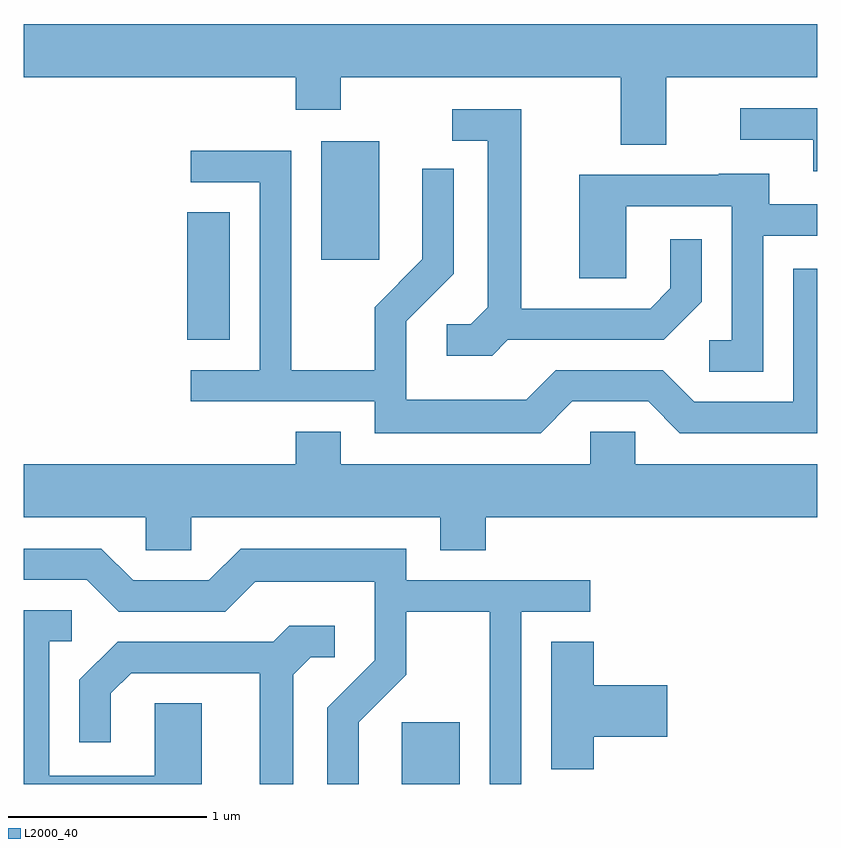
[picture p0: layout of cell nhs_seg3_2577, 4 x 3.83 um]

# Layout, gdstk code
import gdstk
lib = gdstk.Library(unit=1e-6, precision=1e-09)
def R(c, l, rs):  # rectangles x0, y0, x1, y1
    for r in rs: c.add(gdstk.rectangle(r[:2], r[2:], *l))
def P(c, l, *ps):  # polygons
    for p in ps: c.add(gdstk.Polygon(p, *l))
L2000_40 = (2000, 40)

nhs_seg3_2577 = lib.new_cell('nhs_seg3_2577')
R(nhs_seg3_2577, L2000_40, [(261.516,1237.892,261.809,1238.204), (260.436,1240.131,260.649,1240.774), (261.111,1240.536,261.404,1241.134)])
P(nhs_seg3_2577, L2000_40, [(262.849,1241.456),(263.611,1241.456),(263.611,1241.724),(259.611,1241.724),(259.611,1241.456),(260.981,1241.456),(260.981,1241.291),(261.209,1241.291),(261.209,1241.456),(262.621,1241.456),(262.621,1241.116),(262.849,1241.116)],
  [(263.611,1241.299),(263.223,1241.299),(263.223,1241.141),(263.591,1241.141),(263.591,1240.981),(263.611,1240.981)],
  [(262.052,1240.131),(262.837,1240.131),(263.029,1240.324),(263.029,1240.638),(262.871,1240.638),(262.871,1240.392),(262.769,1240.289),(262.119,1240.289),(262.119,1241.294),(261.772,1241.294),(261.772,1241.136),(261.951,1241.136),(261.951,1240.297),(261.864,1240.209),(261.743,1240.209),(261.743,1240.051),(261.972,1240.051)],
  [(262.377,1239.821),(262.759,1239.821),(262.919,1239.661),(263.611,1239.661),(263.611,1240.489),(263.491,1240.489),(263.491,1239.819),(262.992,1239.819),(262.832,1239.979),(262.294,1239.979),(262.144,1239.829),(261.539,1239.829),(261.539,1240.224),(261.779,1240.464),(261.779,1240.993),(261.621,1240.993),(261.621,1240.537),(261.381,1240.297),(261.381,1239.979),(260.959,1239.979),(260.959,1241.084),(260.453,1241.084),(260.453,1240.926),(260.801,1240.926),(260.801,1239.979),(260.453,1239.979),(260.453,1239.821),(261.381,1239.821),(261.381,1239.661),(262.217,1239.661)],
  [(263.339,1240.656),(263.611,1240.656),(263.611,1240.814),(263.369,1240.814),(263.369,1240.969),(263.115,1240.969),(263.115,1240.964),(262.411,1240.964),(262.411,1240.441),(262.649,1240.441),(262.649,1240.806),(263.181,1240.806),(263.181,1240.129),(263.068,1240.129),(263.068,1239.971),(263.339,1239.971)],
  [(261.209,1239.669),(260.981,1239.669),(260.981,1239.504),(259.611,1239.504),(259.611,1239.236),(260.226,1239.236),(260.226,1239.071),(260.454,1239.071),(260.454,1239.236),(261.711,1239.236),(261.711,1239.071),(261.939,1239.071),(261.939,1239.236),(263.611,1239.236),(263.611,1239.504),(262.694,1239.504),(262.694,1239.669),(262.466,1239.669),(262.466,1239.504),(261.209,1239.504)],
  [(261.299,1238.204),(261.539,1238.444),(261.539,1238.761),(261.961,1238.761),(261.961,1237.892),(262.119,1237.892),(262.119,1238.761),(262.468,1238.761),(262.468,1238.919),(261.539,1238.919),(261.539,1239.079),(260.704,1239.079),(260.544,1238.919),(260.162,1238.919),(260.002,1239.079),(259.611,1239.079),(259.611,1238.921),(259.929,1238.921),(260.089,1238.761),(260.627,1238.761),(260.777,1238.911),(261.381,1238.911),(261.381,1238.517),(261.141,1238.277),(261.141,1237.892),(261.299,1237.892)],
  [(260.509,1238.299),(260.271,1238.299),(260.271,1237.934),(259.739,1237.934),(259.739,1238.611),(259.853,1238.611),(259.853,1238.769),(259.611,1238.769),(259.611,1237.892),(260.509,1237.892)],
  [(260.969,1238.444),(261.057,1238.531),(261.178,1238.531),(261.178,1238.689),(260.949,1238.689),(260.868,1238.609),(260.084,1238.609),(259.891,1238.417),(259.891,1238.103),(260.049,1238.103),(260.049,1238.349),(260.152,1238.451),(260.801,1238.451),(260.801,1237.892),(260.969,1237.892)],
  [(262.484,1238.131),(262.854,1238.131),(262.854,1238.389),(262.484,1238.389),(262.484,1238.609),(262.271,1238.609),(262.271,1237.966),(262.484,1237.966)])

lib.write_gds('nhs_seg3_2577.gds')
